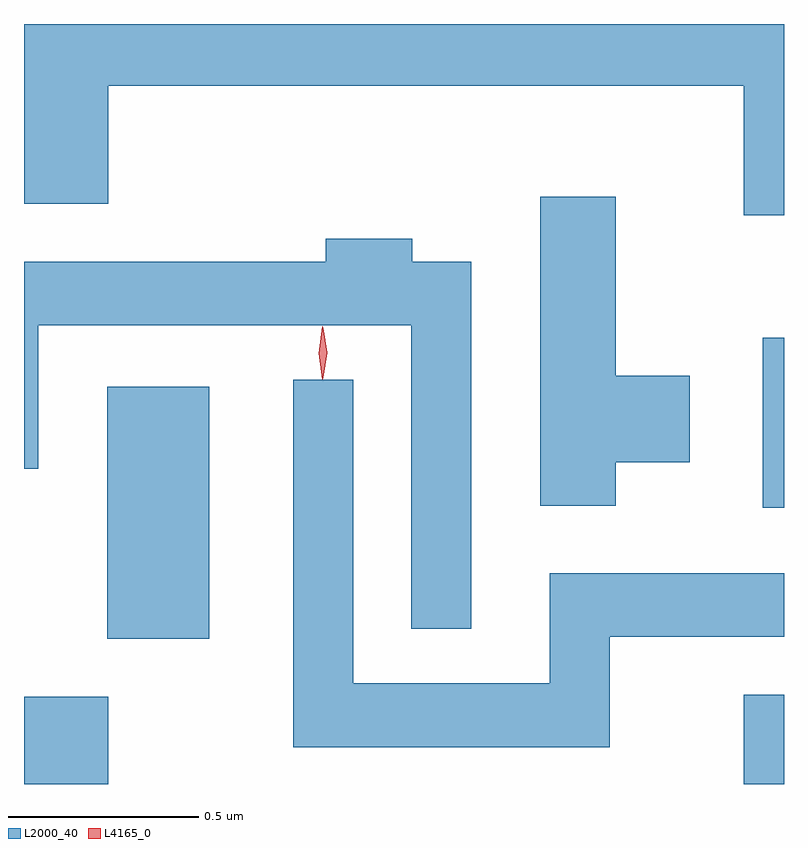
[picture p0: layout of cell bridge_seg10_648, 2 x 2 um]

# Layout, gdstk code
import gdstk
lib = gdstk.Library(unit=1e-6, precision=1e-09)
def R(c, l, rs):  # rectangles x0, y0, x1, y1
    for r in rs: c.add(gdstk.rectangle(r[:2], r[2:], *l))
def P(c, l, *ps):  # polygons
    for p in ps: c.add(gdstk.Polygon(p, *l))
L2000_40 = (2000, 40)
L4165_0 = (4165, 0)

bridge_seg10_648 = lib.new_cell('bridge_seg10_648')
R(bridge_seg10_648, L2000_40, [(839.237,2145.379,839.459,2145.609), (841.131,2145.379,841.237,2145.614), (839.456,2145.761,839.724,2146.424), (841.181,2146.106,841.237,2146.554)])
P(bridge_seg10_648, L2000_40, [(841.237,2147.379),(839.237,2147.379),(839.237,2146.906),(839.459,2146.906),(839.459,2147.216),(841.131,2147.216),(841.131,2146.876),(841.237,2146.876)],
  [(840.794,2146.226),(840.989,2146.226),(840.989,2146.454),(840.794,2146.454),(840.794,2146.924),(840.596,2146.924),(840.596,2146.111),(840.794,2146.111)],
  [(840.414,2146.754),(840.259,2146.754),(840.259,2146.814),(840.031,2146.814),(840.031,2146.754),(839.237,2146.754),(839.237,2146.208),(839.274,2146.208),(839.274,2146.586),(840.256,2146.586),(840.256,2145.788),(840.414,2145.788)],
  [(840.779,2145.766),(841.237,2145.766),(841.237,2145.934),(840.621,2145.934),(840.621,2145.644),(840.104,2145.644),(840.104,2146.443),(839.946,2146.443),(839.946,2145.476),(840.779,2145.476)])
P(bridge_seg10_648, L4165_0, [(840.023,2146.443),(840.022,2146.444),(840.013,2146.513),(840.022,2146.582),(840.023,2146.583),(840.023,2146.582),(840.033,2146.513),(840.023,2146.444)],
  [(840.025,2146.447),(840.024,2146.448),(840.015,2146.514),(840.024,2146.58),(840.025,2146.58),(840.025,2146.58),(840.035,2146.514),(840.025,2146.448)])

lib.write_gds('bridge_seg10_648.gds')
